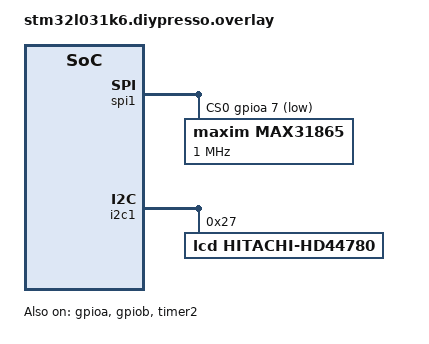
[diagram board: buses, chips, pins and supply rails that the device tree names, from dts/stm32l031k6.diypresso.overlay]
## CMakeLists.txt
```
# SPDX-License-Identifier: Apache-2.0

cmake_minimum_required(VERSION 3.20.0)

find_package(Zephyr REQUIRED HINTS $ENV{ZEPHYR_BASE})
project(diypresso_stm32 VERSION 1.0.0)

target_sources(app PRIVATE
    src/main.c
    src/encoder.c
    src/display.c
    src/temperature.c
    src/hx711.c
    src/heater.c
    src/pump.c
    src/reservoir.c
    src/boiler.c
    src/menu.c
    src/settings.c
    src/pid.c
    src/brew.c
    src/wifi.c
    src/mqtt.c
)

target_include_directories(app PRIVATE include)
```

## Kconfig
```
# SPDX-License-Identifier: Apache-2.0

config DIYPRESSO_VERSION
    string "diyPresso version string"
    default "STM32L031K6-1.0.0"

config DIYPRESSO_TEMPERATURE_WINDOW
    int "Temperature window for in-range detection (in tenths of degrees)"
    default 100
    help
      Temperature window in tenths of degrees Celsius for determining when the boiler
      is in the desired temperature range. Value will be divided by 10 (e.g., 100 = 10.0°C).

config DIYPRESSO_TEMPERATURE_LIMIT_HIGH
    int "High temperature limit (in tenths of degrees)"
    default 1080
    help
      Maximum temperature limit in tenths of degrees Celsius for safety cutoff.
      Value will be divided by 10 (e.g., 1080 = 108.0°C).

config DIYPRESSO_TEMPERATURE_LIMIT_LOW
    int "Low temperature limit (in tenths of degrees)"
    default 10
    help
      Minimum temperature limit in tenths of degrees Celsius for safety cutoff.
      Value will be divided by 10 (e.g., 10 = 1.0°C).

config DIYPRESSO_TIMEOUT_HEATING
    int "Maximum heating timeout in seconds"
    default 600
    help
      Maximum time in seconds the heater can remain on during heating phase.

config DIYPRESSO_RESERVOIR_CAPACITY
    int "Reservoir capacity in grams"
    default 1500
    help
      Total capacity of the water reservoir in grams.

config DIYPRESSO_RESERVOIR_EMPTY_LEVEL
    int "Empty level threshold percentage (in hundredths)"
    default 334
    help
      Percentage threshold in hundredths below which the reservoir is considered empty.
      Value will be divided by 100 (e.g., 334 = 3.34%).

config DIYPRESSO_SPI_MAX31865_NODE
    string "Device tree node for MAX31865 temperature sensor"
    default "spi1_cs0"
    help
      Device tree node identifier for the MAX31865 temperature sensor.

config DIYPRESSO_I2C_LCD_NODE
    string "Device tree node for LCD display"
    default "i2c1"
    help
      Device tree node identifier for the LCD display.
```

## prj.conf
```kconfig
# General configuration
CONFIG_MAIN_STACK_SIZE=2048

# Enable GPIO
CONFIG_GPIO=y
CONFIG_GPIO_STM32=y

# Enable SPI
CONFIG_SPI=y
CONFIG_SPI_STM32=y

# Enable I2C
CONFIG_I2C=y
CONFIG_I2C_STM32=y

# Enable ADC if needed
CONFIG_ADC=n

# Enable PWM for heater control
CONFIG_PWM=y
CONFIG_PWM_STM32=y

# Enable RTC for time keeping
CONFIG_RTC=n

# Enable Flash storage for settings
CONFIG_FLASH=y
CONFIG_FLASH_PAGE_LAYOUT=y
CONFIG_SETTINGS=y
CONFIG_SETTINGS_NVS=y

# Enable WiFi (will need external module)
CONFIG_WIFI=n
CONFIG_NET_L2_WIFI=y

# Enable MQTT if WiFi is enabled
CONFIG_MQTT=y
CONFIG_MQTT_HELPER=y

# Enable serial console for debugging
CONFIG_UART_CONSOLE=y
CONFIG_UART_INTERRUPT_DRIVEN=y

# Enable threading
CONFIG_MULTITHREADING=y
CONFIG_WORKQUEUE=y
CONFIG_SYSTEM_WORKQUEUE_STACK_SIZE=2048
CONFIG_MAIN_STACK_SIZE=2048

# Memory optimizations for STM32L031K6
CONFIG_HEAP_MEM_POOL_SIZE=2048
CONFIG_BT_CTLR_TX_PWR_PLUS_8=y

# Disable unused features to save space
CONFIG_LOG=n
CONFIG_ASSERT=n
CONFIG_DEBUG_THREAD_INFO=n
CONFIG_TEST_ARM_CORTEX_M=n

# Enable minimal printf support
CONFIG_CBPRINTF_NANO=n
CONFIG_CBPRINTF_FP_SUPPORT=n
CONFIG_NEWLIB_LIBC=y

# Enable specific STM32L0 series features
CONFIG_SOC_FAMILY_STM32L0XX=y
CONFIG_SOC_SERIES_STM32L0X1=y
CONFIG_BOARD_NUCLEO_L031K6=y

# Power management
CONFIG_PM=y
CONFIG_DEVICE_POWER_MANAGEMENT=y

# USB CDC ACM for console (optional)
CONFIG_USB_DEVICE_STACK=y
CONFIG_USB_CDC_ACM=y
CONFIG_UART_INTERRUPT_DRIVEN=y
```

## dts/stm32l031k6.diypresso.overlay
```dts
/*
 * Device Tree Overlay for diyPresso on STM32L031K6
 */

/ {
	aliases {
		enc-btn-gpio-port = &gpioa;
		brew-sw-gpio-port = &gpioa;
		ssr-heater-gpio-port = &gpioa;
		ssr-pump-gpio-port = &gpioa;
		enc-a-gpio-port = &gpiob;
		enc-b-gpio-port = &gpiob;
		hx711-clk-gpio-port = &gpioa;
		hx711-dat-gpio-port = &gpioa;
		therm-rdy-gpio-port = &gpioa;
		therm-cs-gpio-port = &gpioa;
	};
	
	gpioa: gpio@48000000 {
		compatible = "st,stm32-gpio";
		reg = <0x48000000 0x400>;
		interrupts = <5 6 7 8>;
		clocks = <&rcc STM32_CLOCK_LSE 0>;
		st,gpioafs = <1 2 3 4 5 6 7 8 9 10 11 12 13 14 15>;
		status = "okay";
		gpio-lines = <16>; /* 16 GPIO lines available */
	};

	gpiob: gpio@48000400 {
		compatible = "st,stm32-gpio";
		reg = <0x48000400 0x400>;
		interrupts = <9 10 11 12>;
		clocks = <&rcc STM32_CLOCK_LSE 0>;
		st,gpioafs = <1 2 3 4 5 6 7 8 9 10 11 12 13 14 15>;
		status = "okay";
		gpio-lines = <16>; /* 16 GPIO lines available */
	};

	spi1: spi@40013000 {
		compatible = "st,stm32-spi";
		reg = <0x40013000 0x400>;
		interrupts = <35>;
		clocks = <&rcc STM32_CLOCK_PCLK1 0>;
		dmas = <&dma1 0 2 0x400 0x0>, <&dma1 1 2 0x400 0x0>;
		dma-names = "rx", "tx";
		cs-gpios = <&gpioa 7 GPIO_ACTIVE_LOW>;  /* PA7 for MAX31865 CS */
		status = "okay";

		max31865@0 {
			compatible = "maxim,max31865";
			reg = <0>;
			spi-max-frequency = <1000000>;
			r-ref = <4300>;  /* Reference resistor value for PT1000 */
			r-nominal = <1000>;  /* Nominal resistance at 0°C for PT1000 */
		};
	};

	i2c1: i2c@40005400 {
		compatible = "st,stm32-i2c-v2";
		reg = <0x40005400 0x400>;
		interrupts = <34>;
		clocks = <&rcc STM32_CLOCK_PCLK1 0>;
		status = "okay";

		lcd@27 {
			compatible = "lcd,hitachi-hd44780";
			reg = <0x27>;
			lines = <4>;
			columns = <20>;
			delay-setup-us = <40000>;
			delay-init-us = <100>;
			delay-write-us = <40>;
			delay-read-us = <10>;
		};
	};

	/* Timer for encoder debouncing */
	timer2: timer@40000000 {
		compatible = "st,stm32-timer";
		reg = <0x40000000 0x400>;
		interrupts = <28>;
		clocks = <&rcc STM32_CLOCK_PCLK1 0>;
		st,adc-trig-sel = <0>;
		status = "okay";
	};
};
```

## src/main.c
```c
/*
 * diyPresso main controller for STM32L031K6
 * Ported to Zephyr RTOS
 */

#include <zephyr/kernel.h>
#include <zephyr/device.h>
#include <zephyr/drivers/gpio.h>
#include <zephyr/sys/printk.h>
#include <zephyr/sys/util.h>
#include <zephyr/logging/log.h>

#include "encoder.h"
#include "display.h"
#include "temperature.h"
#include "hx711.h"
#include "heater.h"
#include "pump.h"
#include "reservoir.h"
#include "boiler.h"
#include "menu.h"
#include "settings.h"
#include "brew.h"
#include "wifi.h"
#include "mqtt.h"

/* Stack definition for main thread */
#define MAIN_STACK_SIZE 2048
#define MAIN_PRIORITY 5

/* Global state structure */
struct diypresso_state {
    struct k_work_q work_q;
    struct k_thread work_q_thread;
    k_tid_t work_q_tid;
    struct k_sem sync_sem;
};

static struct diypresso_state app_state;

/* Work definitions for various subsystems */
static struct k_work encoder_work;
static struct k_work boiler_control_work;
static struct k_work brew_process_work;
static struct k_work display_update_work;
static struct k_work mqtt_send_work;

/* Thread stack for work queue */
K_THREAD_STACK_DEFINE(work_q_stack, 2048);

/* Forward declarations */
static void encoder_work_handler(struct k_work *work);
static void boiler_control_handler(struct k_work *work);
static void brew_process_handler(struct k_work *work);
static void display_update_handler(struct k_work *work);
static void mqtt_send_handler(struct k_work *work);

/**
 * @brief Initialize all subsystems
 */
static int initialize_subsystems(void)
{
    int ret;

    printk("Initializing diyPresso system...\n");

    /* Initialize GPIO subsystem */
    ret = gpio_init();
    if (ret < 0) {
        printk("GPIO initialization failed: %d\n", ret);
        return ret;
    }

    /* Initialize encoder */
    ret = encoder_init();
    if (ret < 0) {
        printk("Encoder initialization failed: %d\n", ret);
        return ret;
    }
    k_work_init(&encoder_work, encoder_work_handler);

    /* Initialize display */
    ret = display_init();
    if (ret < 0) {
        printk("Display initialization failed: %d\n", ret);
        return ret;
    }
    k_work_init(&display_update_work, display_update_handler);

    /* Initialize temperature sensor */
    ret = temperature_sensor_init();
    if (ret < 0) {
        printk("Temperature sensor initialization failed: %d\n", ret);
        return ret;
    }

    /* Initialize HX711 weight sensor */
    ret = hx711_init();
    if (ret < 0) {
        printk("HX711 initialization failed: %d\n", ret);
        return ret;
    }

    /* Initialize heater */
    ret = heater_init();
    if (ret < 0) {
        printk("Heater initialization failed: %d\n", ret);
        return ret;
    }

    /* Initialize pump */
    ret = pump_init();
    if (ret < 0) {
        printk("Pump initialization failed: %d\n", ret);
        return ret;
    }

    /* Initialize reservoir monitoring */
    ret = reservoir_init();
    if (ret < 0) {
        printk("Reservoir initialization failed: %d\n", ret);
        return ret;
    }

    /* Initialize boiler controller */
    ret = boiler_controller_init();
    if (ret < 0) {
        printk("Boiler controller initialization failed: %d\n", ret);
        return ret;
    }
    k_work_init(&boiler_control_work, boiler_control_handler);

    /* Initialize brew process */
    ret = brew_process_init();
    if (ret < 0) {
        printk("Brew process initialization failed: %d\n", ret);
        return ret;
    }
    k_work_init(&brew_process_handler, brew_process_handler);

    /* Initialize settings */
    ret = settings_load();
    if (ret < 0) {
        printk("Settings load failed: %d, loading defaults\n", ret);
        settings_defaults();
        settings_save();
    }

    /* Initialize WiFi */
    wifi_init();

    /* Initialize MQTT */
    mqtt_init();

    /* Initialize menu system */
    menu_init();

    printk("All subsystems initialized successfully\n");
    return 0;
}

/**
 * @brief Main application loop
 */
static void main_loop(void)
{
    static uint32_t loop_counter = 0;
    static uint32_t last_wifi_check = 0;
    static uint32_t last_mqtt_send = 0;

    while (1) {
        /* Process encoder input */
        if (encoder_has_events()) {
            k_work_submit_to_queue(&app_state.work_q, &encoder_work);
        }

        /* Update boiler control periodically */
        if ((loop_counter % 10) == 0) {  /* Every 100ms */
            k_work_submit_to_queue(&app_state.work_q, &boiler_control_work);
        }

        /* Update brew process periodically */
        if ((loop_counter % 5) == 0) {   /* Every 50ms */
            k_work_submit_to_queue(&app_state.work_q, &brew_process_work);
        }

        /* Update display periodically */
        if ((loop_counter % 20) == 0) {  /* Every 200ms */
            k_work_submit_to_queue(&app_state.work_q, &display_update_work);
        }

        /* Handle WiFi operations */
        if ((k_uptime_get_32() - last_wifi_check) > 1000) {  /* Every second */
            wifi_process();
            last_wifi_check = k_uptime_get_32();
        }

        /* Send MQTT updates periodically */
        if ((k_uptime_get_32() - last_mqtt_send) > 5000) {   /* Every 5 seconds */
            k_work_submit_to_queue(&app_state.work_q, &mqtt_send_work);
            last_mqtt_send = k_uptime_get_32();
        }

        loop_counter++;
        k_msleep(10);  /* 10ms tick */
    }
}

/* Work handlers */
static void encoder_work_handler(struct k_work *work)
{
    encoder_process_events();
}

static void boiler_control_handler(struct k_work *work)
{
    boiler_control();
}

static void brew_process_handler(struct k_work *work)
{
    brew_process_run();
}

static void display_update_handler(struct k_work *work)
{
    menu_update_display();
}

static void mqtt_send_handler(struct k_work *work)
{
    mqtt_send_state();
}

/**
 * @brief Main function
 */
void main(void)
{
    int ret;

    printk("Starting diyPresso on STM32L031K6\n");
    printk("Version: %s\n", CONFIG_DIYPRESSO_VERSION);

    /* Initialize the synchronization semaphore */
    k_sem_init(&app_state.sync_sem, 0, 1);

    /* Initialize work queue */
    k_work_queue_start(&app_state.work_q, work_q_stack,
                      K_THREAD_STACK_SIZEOF(work_q_stack),
                      K_PRIO_COOP(7), NULL);
    
    /* Initialize all subsystems */
    ret = initialize_subsystems();
    if (ret < 0) {
        printk("System initialization failed: %d\n", ret);
        return;
    }

    /* Start the work queue thread */
    k_thread_start(app_state.work_q_tid);

    /* Run the main application loop */
    main_loop();
}
```

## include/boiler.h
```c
/*
 * Boiler control for diyPresso
 * Ported to Zephyr RTOS
 */

#ifndef BOILER_H_
#define BOILER_H_

#include <zephyr/kernel.h>
#include "pid.h"

/* Temperature limits (in Celsius) */
#define BOILER_TEMP_WINDOW      (CONFIG_DIYPRESSO_TEMPERATURE_WINDOW / 10.0)    /* In temperature range */
#define BOILER_TEMP_LIMIT_HIGH  (CONFIG_DIYPRESSO_TEMPERATURE_LIMIT_HIGH / 10.0) /* High temperature limit */
#define BOILER_TEMP_LIMIT_LOW   (CONFIG_DIYPRESSO_TEMPERATURE_LIMIT_LOW / 10.0)  /* Low temperature limit */
#define BOILER_TEMP_MIN_BREW    10.0    /* Minimum brew temperature */

/* Timeouts (in milliseconds) */
#define BOILER_TIMEOUT_HEATING      (CONFIG_DIYPRESSO_TIMEOUT_HEATING * 1000)    /* Max heating time from config */
#define BOILER_TIMEOUT_BREW         (3 * 60 * 1000) /* 3 minutes max brew */
#define BOILER_TIMEOUT_READY        (2 * 60 * 60 * 1000) /* 2 hours max ready state */
#define BOILER_TIMEOUT_CONTROL_MSEC (10 * 1000)     /* 10 seconds max between controls */

/* PID Windup limits */
#define BOILER_WINDUP_LIMIT_MIN -7.0  /* Windup limits in % */
#define BOILER_WINDUP_LIMIT_MAX 7.0

/* Boiler error types */
typedef enum {
    BOILER_ERROR_NONE,
    BOILER_ERROR_RTD,
    BOILER_ERROR_TIMEOUT_BREW,
    BOILER_ERROR_TIMEOUT_HEATING,
    BOILER_ERROR_READY_TIMEOUT,
    BOILER_ERROR_SSR_TIMEOUT,
    BOILER_ERROR_OVER_TEMP,
    BOILER_ERROR_UNDER_TEMP,
    BOILER_ERROR_CONTROL_TIMEOUT,
    BOILER_ERROR_UNKNOWN,
} boiler_error_t;

/* Boiler state machine states */
typedef enum {
    BOILER_STATE_OFF,
    BOILER_STATE_HEATING,
    BOILER_STATE_READY,
    BOILER_STATE_BREW,
    BOILER_STATE_ERROR,
} boiler_state_t;

/* Boiler state structure */
struct boiler_state {
    struct dp_pid pid;
    double act_temp;              /* Actual temperature */
    double set_temp;              /* Target temperature */
    double act_power;             /* Actual power output */
    double ff_heat;              /* Feedforward during heating */
    double ff_ready;             /* Feedforward during ready */
    double ff_brew;              /* Feedforward during brew */
    bool is_on;                  /* Whether boiler is active */
    bool is_brewing;             /* Whether in brewing mode */
    unsigned long last_control_time; /* Last control update time */
    boiler_error_t error;        /* Current error state */
    int rtd_error;               /* RTD sensor errors */
    boiler_state_t current_state; /* Current state machine state */
    unsigned long state_entry_time; /* Time when entered current state */
};

/* Public API */
int boiler_controller_init(void);
void boiler_control(void);
void boiler_on(void);
void boiler_off(void);
void boiler_start_brew(void);
void boiler_stop_brew(void);
bool boiler_is_on(void);
bool boiler_is_ready(void);
bool boiler_is_error(void);
bool boiler_is_brewing(void);
void boiler_clear_error(void);
double boiler_get_set_temp(void);
double boiler_set_temp(double temp);
double boiler_get_act_temp(void);
double boiler_get_act_power(void);
double boiler_get_ff_heat(void);
double boiler_set_ff_heat(double ff);
double boiler_get_ff_ready(void);
double boiler_set_ff_ready(double ff);
double boiler_get_ff_brew(void);
double boiler_set_ff_brew(double ff);
void boiler_set_pid(double p, double i, double d);
const char* boiler_get_error_text(void);
const char* boiler_get_state_name(void);
boiler_error_t boiler_get_error(void);

#endif /* BOILER_H_ */
```

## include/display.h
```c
/*
 * Display interface for diyPresso
 * Ported to Zephyr RTOS
 */

#ifndef DISPLAY_H_
#define DISPLAY_H_

#include <zephyr/kernel.h>

/* Display error types */
typedef enum {
    DISPLAY_ERROR_NONE,
    DISPLAY_ERROR_INIT,
    DISPLAY_ERROR_COMM,
    DISPLAY_ERROR_BUSY
} display_error_t;

/* Display dimensions */
#define DISPLAY_COLS 20
#define DISPLAY_ROWS 4

/* Public API */
int display_init(void);
int display_print(const char *str, int row, int col);
int display_clear(void);
int display_clear_row(int row);
int display_set_cursor(int row, int col);
int display_backlight_on(void);
int display_backlight_off(void);
bool display_is_error(void);
display_error_t display_get_error(void);
const char *display_get_error_text(void);
void display_clear_error(void);

#endif /* DISPLAY_H_ */
```

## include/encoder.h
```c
/*
 * Rotary encoder driver for diyPresso
 * Ported to Zephyr RTOS
 */

#ifndef ENCODER_H_
#define ENCODER_H_

#include <zephyr/kernel.h>

/* Encoder configuration */
#define ENCODER_TIMER_PERIOD_US 400  /* 400usec timer = 2.5kHz */
#define ENCODER_DEGLITCH_COUNT 2     /* Deglitch count value */

/* Button configuration */
#define BUTTON_DEGLITCH_BITS 0xFFFFFFF  /* Bits that need to be high before switching back */

/* Encoder state structure */
struct encoder_state {
    volatile int32_t position;
    volatile int32_t button_count;
    volatile bool button_state;
    volatile int32_t button_time;
    volatile int32_t timer_count;
    struct k_timer timer;
    struct gpio_callback gpio_cb_a;
    struct gpio_callback gpio_cb_b;
    struct gpio_callback gpio_cb_btn;
    const struct device *port_a;
    const struct device *port_b;
    const struct device *port_btn;
    uint32_t pin_a;
    uint32_t pin_b;
    uint32_t pin_btn;
    volatile uint32_t prev_enc_state;
    volatile uint32_t afilt;
    volatile uint32_t bfilt;
    volatile uint32_t enc_switch;
    volatile uint32_t enc_prev_button;
};

/* Public API */
int encoder_init(void);
bool encoder_has_events(void);
void encoder_process_events(void);
int32_t encoder_position(void);
int32_t encoder_button_count(void);
bool encoder_button_state(void);
int32_t encoder_button_time_ms(void);
void encoder_reset(void);
void encoder_set_position(int32_t value);

#endif /* ENCODER_H_ */
```

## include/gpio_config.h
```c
/*
 * GPIO configuration for diyPresso STM32L031K6
 */

#ifndef GPIO_CONFIG_H_
#define GPIO_CONFIG_H_

#include <zephyr/device.h>

/* GPIO Pin Definitions for STM32L031K6 */
#define ENC_BTN_GPIO_PORT     DT_ALIAS(enc_btn_gpio_port)
#define ENC_BTN_GPIO_PIN      DT_GPIO_PIN(DT_ALIAS(enc_btn_gpio_port), gpios)

#define BREW_SW_GPIO_PORT     DT_ALIAS(brew_sw_gpio_port)
#define BREW_SW_GPIO_PIN      DT_GPIO_PIN(DT_ALIAS(brew_sw_gpio_port), gpios)

#define SSR_HEATER_GPIO_PORT  DT_ALIAS(ssr_heater_gpio_port)
#define SSR_HEATER_GPIO_PIN   DT_GPIO_PIN(DT_ALIAS(ssr_heater_gpio_port), gpios)

#define SSR_PUMP_GPIO_PORT    DT_ALIAS(ssr_pump_gpio_port)
#define SSR_PUMP_GPIO_PIN     DT_GPIO_PIN(DT_ALIAS(ssr_pump_gpio_port), gpios)

#define ENC_A_GPIO_PORT       DT_ALIAS(enc_a_gpio_port)
#define ENC_A_GPIO_PIN        DT_GPIO_PIN(DT_ALIAS(enc_a_gpio_port), gpios)

#define ENC_B_GPIO_PORT       DT_ALIAS(enc_b_gpio_port)
#define ENC_B_GPIO_PIN        DT_GPIO_PIN(DT_ALIAS(enc_b_gpio_port), gpios)

#define HX711_CLK_GPIO_PORT   DT_ALIAS(hx711_clk_gpio_port)
#define HX711_CLK_GPIO_PIN    DT_GPIO_PIN(DT_ALIAS(hx711_clk_gpio_port), gpios)

#define HX711_DAT_GPIO_PORT   DT_ALIAS(hx711_dat_gpio_port)
#define HX711_DAT_GPIO_PIN    DT_GPIO_PIN(DT_ALIAS(hx711_dat_gpio_port), gpios)

#define THERM_RDY_GPIO_PORT   DT_ALIAS(therm_rdy_gpio_port)
#define THERM_RDY_GPIO_PIN    DT_GPIO_PIN(DT_ALIAS(therm_rdy_gpio_port), gpios)

#define THERM_CS_GPIO_PORT    DT_ALIAS(therm_cs_gpio_port)
#define THERM_CS_GPIO_PIN     DT_GPIO_PIN(DT_ALIAS(therm_cs_gpio_port), gpios)

/* Helper macros */
#define GPIO_GET(dev, pin) gpio_pin_get(dev, pin)
#define GPIO_SET(dev, pin, value) gpio_pin_set(dev, pin, value)

/* Function prototypes */
int gpio_init(void);

#endif /* GPIO_CONFIG_H_ */
```

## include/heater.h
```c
/*
 * Heater control for diyPresso
 * Ported to Zephyr RTOS
 */

#ifndef HEATER_H_
#define HEATER_H_

#include <zephyr/kernel.h>

/* Heater configuration */
#define HEATER_PWM_PERIOD_DEFAULT_US 1000000  /* 1 second default PWM period */
#define HEATER_PWM_PERIOD_MIN_US 100000       /* 0.1 second minimum */
#define HEATER_PWM_PERIOD_MAX_US 10000000     /* 10 second maximum */

/* Heater state structure */
struct heater_state {
    double power;           /* Power level [0..100%] */
    double average_power;   /* Average power over time */
    uint32_t pwm_period_us; /* PWM period in microseconds */
    uint32_t time_on;       /* Time in current state (microseconds) */
    bool is_on;             /* Current state of heater */
    struct k_timer control_timer;
    const struct device *pwm_dev;
    uint32_t pwm_channel;
};

/* Public API */
int heater_init(void);
void heater_control(void);
void heater_pwm_period(double seconds);
void heater_on(void);
void heater_off(void);
void heater_set_power(double power_percent);
double heater_get_power(void);
double heater_get_average_power(void);
bool heater_is_on(void);
double heater_get_pwm_period(void);

#endif /* HEATER_H_ */
```

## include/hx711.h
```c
/*
 * HX711 Load Cell Amplifier for diyPresso
 * Ported to Zephyr RTOS
 */

#ifndef HX711_H_
#define HX711_H_

#include <zephyr/kernel.h>

/* HX711 error types */
typedef enum {
    HX711_ERROR_NONE,
    HX711_ERROR_INIT,
    HX711_ERROR_READ,
    HX711_ERROR_TIMEOUT
} hx711_error_t;

/* HX711 gain options */
#define HX711_GAIN_CHANNEL_A_128  0  /* Channel A, gain factor 128 */
#define HX711_GAIN_CHANNEL_A_64   1  /* Channel A, gain factor 64 */
#define HX711_GAIN_CHANNEL_B_32   2  /* Channel B, gain factor 32 */

/* Public API */
int hx711_init(void);
int hx711_read(long *result);
int hx711_set_gain(uint8_t gain);
int hx711_power_down(void);
int hx711_power_up(void);
bool hx711_is_ready(void);
bool hx711_is_error(void);
hx711_error_t hx711_get_error(void);
const char *hx711_get_error_text(void);
void hx711_clear_error(void);

#endif /* HX711_H_ */
```

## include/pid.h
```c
/*
 * PID controller for diyPresso
 * Ported to Zephyr RTOS
 */

#ifndef PID_H_
#define PID_H_

#include <zephyr/kernel.h>

/* PID state structure */
struct dp_pid {
    double kp;           /* Proportional gain */
    double ki;           /* Integral gain */
    double kd;           /* Derivative gain */
    double integral;     /* Integral term */
    double last_error;   /* Previous error value */
    double output_min;   /* Minimum output value */
    double output_max;   /* Maximum output value */
    double windup_min;   /* Minimum windup limit */
    double windup_max;   /* Maximum windup limit */
};

/* Public API */
int pid_init(struct dp_pid *pid);
void pid_set_coefficients(struct dp_pid *pid, double kp, double ki, double kd);
void pid_set_limits(struct dp_pid *pid, double min_out, double max_out);
void pid_set_windup_limits(struct dp_pid *pid, double min_windup, double max_windup);
double pid_compute(struct dp_pid *pid, double setpoint, double measured_value, uint32_t dt_ms);

#endif /* PID_H_ */
```

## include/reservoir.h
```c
/*
 * Reservoir monitoring for diyPresso
 * Ported to Zephyr RTOS
 */

#ifndef RESERVOIR_H_
#define RESERVOIR_H_

#include <zephyr/kernel.h>

/* Reservoir constants */
#define RESERVOIR_ALMOST_EMPTY_WARNING_LEVEL 12.0  /* Empty level threshold [%], triggers a warning to refill upon brew start */

/* Reservoir error types */
typedef enum {
    RESERVOIR_ERROR_NONE,
    RESERVOIR_ERROR_SENSOR,
    RESERVOIR_ERROR_NO_READINGS,
    RESERVOIR_ERROR_OUT_OF_RANGE,
    RESERVOIR_ERROR_NEGATIVE
} reservoir_error_t;

/* Reservoir state structure */
struct reservoir_state {
    double level;                 /* Level [0..100%] */
    double tare;                  /* Tare weight (when empty) [gr] */
    double weight;                /* Current gross weight [gr] */
    double offset;                /* Zero level offset [adc_units] */
    double scale;                 /* Scale [adc_units/gram] */
    double trim;                  /* Scale trim to match calibrated weight [%] */
    int readings;                 /* Number of readings without measurement */
    reservoir_error_t error;      /* Current error state */
};

/* Public API */
int reservoir_init(void);
double reservoir_level(void);
double reservoir_weight(void);
double reservoir_get_tare(void);
void reservoir_set_tare(double tare);
void reservoir_set_trim(double trim);
void reservoir_tare(void);
bool reservoir_is_empty(void);
bool reservoir_is_almost_empty(void);
bool reservoir_is_error(void);
reservoir_error_t reservoir_error(void);
const char *reservoir_get_error_text(void);
void reservoir_clear_error(void);

#endif /* RESERVOIR_H_ */
```

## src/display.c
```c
/*
 * Display interface for diyPresso
 * Ported to Zephyr RTOS
 */

#include <zephyr/kernel.h>
#include <zephyr/device.h>
#include <zephyr/drivers/i2c.h>
#include <zephyr/logging/log.h>
#include <stdio.h>
#include <string.h>

#include "display.h"
#include "gpio_config.h"

LOG_MODULE_REGISTER(display, CONFIG_DIYPRESSO_LOG_LEVEL);

/* Configuration from device tree or Kconfig */
#define DISPLAY_I2C_DEV DT_LABEL(DT_BUS(DT_PATH(zephyr_user), i2c))
#define DISPLAY_I2C_ADDR DT_REG_ADDR(DT_PATH(zephyr_user, lcd))

/* PCF8574 pin definitions for LCD */
#define PCF_RS 0
#define PCF_RW 1
#define PCF_EN 2
#define PCF_BL 3
#define PCF_D4 4
#define PCF_D5 5
#define PCF_D6 6
#define PCF_D7 7

/* LCD commands */
#define LCD_CLEARDISPLAY 0x01
#define LCD_RETURNHOME 0x02
#define LCD_ENTRYMODESET 0x04
#define LCD_DISPLAYCONTROL 0x08
#define LCD_CURSORSHIFT 0x10
#define LCD_FUNCTIONSET 0x20
#define LCD_SETCGRAMADDR 0x40
#define LCD_SETDDRAMADDR 0x80

#define LCD_ENTRYRIGHT 0x00
#define LCD_ENTRYLEFT 0x02
#define LCD_ENTRYSHIFTINCREMENT 0x01
#define LCD_ENTRYSHIFTDECREMENT 0x00
#define LCD_DISPLAYON 0x04
#define LCD_DISPLAYOFF 0x00
#define LCD_CURSORON 0x02
#define LCD_CURSOROFF 0x00
#define LCD_BLINKON 0x01
#define LCD_BLINKOFF 0x00
#define LCD_DISPLAYMOVE 0x08
#define LCD_CURSORMOVE 0x00
#define LCD_MOVERIGHT 0x04
#define LCD_MOVELEFT 0x00
#define LCD_4BITMODE 0x00
#define LCD_2LINE 0x08
#define LCD_1LINE 0x00
#define LCD_5X8DOTS 0x00

/* Static variables */
static const struct device *i2c_dev;
static display_error_t disp_error = DISPLAY_ERROR_NONE;
static bool backlight_state = true;

/* Forward declarations */
static int lcd_write_nibble(uint8_t nibble, bool rs);
static int lcd_write_byte(uint8_t data, bool rs);
static int lcd_command(uint8_t cmd);
static int lcd_write_char(char data);
static int lcd_init_sequence(void);

/**
 * @brief Initialize display
 */
int display_init(void)
{
    LOG_INF("Initializing display");

    /* Get I2C device */
    i2c_dev = DEVICE_DT_GET(DT_PATH(zephyr_user, lcd));
    if (!device_is_ready(i2c_dev)) {
        LOG_ERR("I2C device not ready");
        disp_error = DISPLAY_ERROR_INIT;
        return -ENODEV;
    }

    /* Initialize LCD */
    int ret = lcd_init_sequence();
    if (ret != 0) {
        LOG_ERR("LCD init sequence failed: %d", ret);
        disp_error = DISPLAY_ERROR_INIT;
        return ret;
    }

    LOG_INF("Display initialized successfully");
    disp_error = DISPLAY_ERROR_NONE;
    return 0;
}

/**
 * @brief Initialize LCD with proper sequence
 */
static int lcd_init_sequence(void)
{
    k_msleep(50);  /* Wait for more than 40ms after VCC rises to 4.5V */

    /* Send initial 0x03 sequence */
    lcd_write_nibble(0x03, false);
    k_msleep(5);  /* Wait for more than 4.1ms */
    
    lcd_write_nibble(0x03, false);
    k_usleep(150);  /* Wait for more than 100us */
    
    lcd_write_nibble(0x03, false);
    k_msleep(1);  /* Wait for more than 1ms */
    
    /* Set to 4-bit mode */
    lcd_write_nibble(0x02, false);
    k_msleep(1);

    /* Begin commands */
    lcd_command(LCD_FUNCTIONSET | LCD_2LINE | LCD_5X8DOTS | LCD_4BITMODE);
    k_msleep(1);
    
    lcd_command(LCD_DISPLAYCONTROL | LCD_DISPLAYON | LCD_CURSOROFF | LCD_BLINKOFF);
    k_msleep(1);
    
    lcd_command(LCD_CLEARDISPLAY);
    k_msleep(2);
    
    lcd_command(LCD_ENTRYMODESET | LCD_ENTRYLEFT | LCD_ENTRYSHIFTDECREMENT);
    k_msleep(1);

    return 0;
}

/**
 * @brief Write a nibble to the LCD via I2C
 */
static int lcd_write_nibble(uint8_t nibble, bool rs)
{
    uint8_t data = 0;

    /* Set RS bit */
    if (rs) {
        data |= (1 << PCF_RS);
    }

    /* Set backlight */
    if (backlight_state) {
        data |= (1 << PCF_BL);
    }

    /* Set data bits (D4-D7) */
    if (nibble & 0x01) data |= (1 << PCF_D4);
    if (nibble & 0x02) data |= (1 << PCF_D5);
    if (nibble & 0x04) data |= (1 << PCF_D6);
    if (nibble & 0x08) data |= (1 << PCF_D7);

    /* Write with EN pulse */
    int ret = i2c_reg_write_byte(i2c_dev, DISPLAY_I2C_ADDR, 0, data);
    if (ret != 0) {
        return ret;
    }

    /* Pulse EN */
    data |= (1 << PCF_EN);  /* Enable HIGH */
    ret = i2c_reg_write_byte(i2c_dev, DISPLAY_I2C_ADDR, 0, data);
    if (ret != 0) {
        return ret;
    }

    data &= ~(1 << PCF_EN);  /* Enable LOW */
    ret = i2c_reg_write_byte(i2c_dev, DISPLAY_I2C_ADDR, 0, data);
    if (ret != 0) {
        return ret;
    }

    return 0;
}

/**
 * @brief Write a byte to the LCD
 */
static int lcd_write_byte(uint8_t data, bool rs)
{
    int ret;

    /* Write high nibble */
    ret = lcd_write_nibble((data >> 4) & 0x0F, rs);
    if (ret != 0) {
        return ret;
    }

    /* Write low nibble */
    ret = lcd_write_nibble(data & 0x0F, rs);
    if (ret != 0) {
        return ret;
    }

    return 0;
}

/**
 * @brief Send command to LCD
 */
static int lcd_command(uint8_t cmd)
{
    return lcd_write_byte(cmd, false);
}

/**
 * @brief Write character to LCD
 */
static int lcd_write_char(char data)
{
    return lcd_write_byte((uint8_t)data, true);
}

/**
 * @brief Print string at specific position
 */
int display_print(const char *str, int row, int col)
{
    if (!str || row < 0 || row >= DISPLAY_ROWS || col < 0 || col >= DISPLAY_COLS) {
        return -EINVAL;
    }

    /* Set cursor position */
    uint8_t pos = col;
    switch (row) {
        case 0: pos = 0x00; break;
        case 1: pos = 0x40; break;
        case 2: pos = 0x14; break;  /* 0x14 = 20 in decimal */
        case 3: pos = 0x54; break;  /* 0x54 = 20+64+4 = 84 in decimal */
        default: return -EINVAL;
    }

    int ret = lcd_command(LCD_SETDDRAMADDR | (pos + col));
    if (ret != 0) {
        disp_error = DISPLAY_ERROR_COMM;
        return ret;
    }

    /* Print string */
    for (int i = 0; str[i] != '\0' && i < (DISPLAY_COLS - col); i++) {
        ret = lcd_write_char(str[i]);
        if (ret != 0) {
            disp_error = DISPLAY_ERROR_COMM;
            return ret;
        }
    }

    disp_error = DISPLAY_ERROR_NONE;
    return 0;
}

/**
 * @brief Clear entire display
 */
int display_clear(void)
{
    int ret = lcd_command(LCD_CLEARDISPLAY);
    if (ret != 0) {
        disp_error = DISPLAY_ERROR_COMM;
        return ret;
    }
    k_msleep(2);  /* Clear command takes 1.52ms */
    disp_error = DISPLAY_ERROR_NONE;
    return 0;
}

/**
 * @brief Clear a specific row
 */
int display_clear_row(int row)
{
    if (row < 0 || row >= DISPLAY_ROWS) {
        return -EINVAL;
    }

    char spaces[DISPLAY_COLS + 1];
    memset(spaces, ' ', DISPLAY_COLS);
    spaces[DISPLAY_COLS] = '\0';

    return display_print(spaces, row, 0);
}

/**
 * @brief Set cursor position
 */
int display_set_cursor(int row, int col)
{
    if (row < 0 || row >= DISPLAY_ROWS || col < 0 || col >= DISPLAY_COLS) {
        return -EINVAL;
    }

    uint8_t pos = col;
    switch (row) {
        case 0: pos = 0x00; break;
        case 1: pos = 0x40; break;
        case 2: pos = 0x14; break;
        case 3: pos = 0x54; break;
        default: return -EINVAL;
    }

    int ret = lcd_command(LCD_SETDDRAMADDR | (pos + col));
    if (ret != 0) {
        disp_error = DISPLAY_ERROR_COMM;
        return ret;
    }

    disp_error = DISPLAY_ERROR_NONE;
    return 0;
}

/**
 * @brief Turn backlight on
 */
int display_backlight_on(void)
{
    backlight_state = true;
    disp_error = DISPLAY_ERROR_NONE;
    return 0;
}

/**
 * @brief Turn backlight off
 */
int display_backlight_off(void)
{
    backlight_state = false;
    disp_error = DISPLAY_ERROR_NONE;
    return 0;
}

/**
 * @brief Check if there's an error
 */
bool display_is_error(void)
{
    return disp_error != DISPLAY_ERROR_NONE;
}

/**
 * @brief Get error type
 */
display_error_t display_get_error(void)
{
    return disp_error;
}

/**
 * @brief Get error text description
 */
const char *display_get_error_text(void)
{
    switch (disp_error) {
        case DISPLAY_ERROR_NONE:
            return "No Error";
        case DISPLAY_ERROR_INIT:
            return "Initialization Error";
        case DISPLAY_ERROR_COMM:
            return "Communication Error";
        case DISPLAY_ERROR_BUSY:
            return "Busy Error";
        default:
            return "Unknown Error";
    }
}

/**
 * @brief Clear error state
 */
void display_clear_error(void)
{
    disp_error = DISPLAY_ERROR_NONE;
}
```

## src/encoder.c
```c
/*
 * Rotary encoder driver for diyPresso
 * Ported to Zephyr RTOS
 */

#include <zephyr/kernel.h>
#include <zephyr/device.h>
#include <zephyr/drivers/gpio.h>
#include <zephyr/sys/printk.h>

#include "encoder.h"
#include "gpio_config.h"

static struct encoder_state enc_state;

/* Timer callback for encoder processing */
static void encoder_timer_callback(struct k_timer *timer)
{
    // Get current encoder state
    int enc_a = GPIO_GET(enc_state.port_a, enc_state.pin_a);
    int enc_b = GPIO_GET(enc_state.port_b, enc_state.pin_b);
    
    if (enc_a < 0 || enc_b < 0) {
        return; // Error reading pins
    }
    
    // Button debouncing and handling
    enc_state.enc_switch = (enc_state.enc_switch << 1) | (GPIO_GET(enc_state.port_btn, enc_state.pin_btn) ? 0 : 1);
    enc_state.button_state = (enc_state.enc_switch & BUTTON_DEGLITCH_BITS) == BUTTON_DEGLITCH_BITS ? 1 : 0;
    
    if (enc_state.button_state && !enc_state.enc_prev_button) { // falling edge
        enc_state.button_count++;
    }
    enc_state.enc_prev_button = enc_state.button_state;
    
    if (enc_state.button_state) {
        enc_state.button_time++;
    } else {
        enc_state.button_time = 0;
    }
    
    // Encoder debouncing and handling
    uint32_t val = 0;
    val |= enc_a ? 1 : 0;
    val |= enc_b ? 2 : 0;
    
    if (val & 1) {
        enc_state.afilt++;
    } else {
        enc_state.afilt--;
    }
    if (enc_state.afilt > ENCODER_DEGLITCH_COUNT) { 
        enc_state.afilt = ENCODER_DEGLITCH_COUNT; 
        enc_state.prev_enc_state |= 1; 
    }
    if (enc_state.afilt < -ENCODER_DEGLITCH_COUNT) { 
        enc_state.afilt = -ENCODER_DEGLITCH_COUNT; 
        enc_state.prev_enc_state &= 2; 
    }
    
    if (val & 2) {
        enc_state.bfilt++;
    } else {
        enc_state.bfilt--;
    }
    if (enc_state.bfilt > ENCODER_DEGLITCH_COUNT) { 
        enc_state.bfilt = ENCODER_DEGLITCH_COUNT; 
        enc_state.prev_enc_state |= 2; 
    }
    if (enc_state.bfilt < -ENCODER_DEGLITCH_COUNT) { 
        enc_state.bfilt = -ENCODER_DEGLITCH_COUNT; 
        enc_state.prev_enc_state &= 1; 
    }
    
    uint32_t cur = enc_state.prev_enc_state;
    if (((enc_state.prev_enc_state & 1) == 1) && ((cur & 1) == 0)) {
        enc_state.position += (cur & 2 ? -1 : 1);
    }
    enc_state.prev_enc_state = cur;
    
    enc_state.timer_count++;
}

int encoder_init(void)
{
    // Get device pointers from devicetree
    enc_state.port_a = DEVICE_DT_GET(DT_ALIAS(enc_a_gpio_port));
    enc_state.port_b = DEVICE_DT_GET(DT_ALIAS(enc_b_gpio_port));
    enc_state.port_btn = DEVICE_DT_GET(DT_ALIAS(enc_btn_gpio_port));
    
    if (!device_is_ready(enc_state.port_a) ||
        !device_is_ready(enc_state.port_b) ||
        !device_is_ready(enc_state.port_btn)) {
        return -ENODEV;
    }
    
    // Get pin numbers from devicetree
    enc_state.pin_a = DT_GPIO_PIN(DT_ALIAS(enc_a_gpio_port), gpios);
    enc_state.pin_b = DT_GPIO_PIN(DT_ALIAS(enc_b_gpio_port), gpios);
    enc_state.pin_btn = DT_GPIO_PIN(DT_ALIAS(enc_btn_gpio_port), gpios);
    
    // Configure GPIO pins
    int ret = gpio_pin_configure(enc_state.port_a, enc_state.pin_a, GPIO_INPUT | GPIO_PULL_UP);
    if (ret < 0) {
        return ret;
    }
    
    ret = gpio_pin_configure(enc_state.port_b, enc_state.pin_b, GPIO_INPUT | GPIO_PULL_UP);
    if (ret < 0) {
        return ret;
    }
    
    ret = gpio_pin_configure(enc_state.port_btn, enc_state.pin_btn, GPIO_INPUT | GPIO_PULL_UP);
    if (ret < 0) {
        return ret;
    }
    
    // Initialize encoder state
    enc_state.position = 0;
    enc_state.button_count = 0;
    enc_state.button_state = false;
    enc_state.button_time = 0;
    enc_state.timer_count = 0;
    enc_state.prev_enc_state = 0;
    enc_state.afilt = 0;
    enc_state.bfilt = 0;
    enc_state.enc_switch = 0;
    enc_state.enc_prev_button = 0;
    
    // Initialize timer for encoder processing
    k_timer_init(&enc_state.timer, encoder_timer_callback, NULL);
    int32_t period = ENCODER_TIMER_PERIOD_US;
    k_timer_start(&enc_state.timer, K_USEC(period), K_USEC(period));
    
    return 0;
}

bool encoder_has_events(void)
{
    static int32_t last_pos = 0;
    static int32_t last_btn_count = 0;
    
    bool pos_changed = (enc_state.position != last_pos);
    bool btn_changed = (enc_state.button_count != last_btn_count);
    
    if (pos_changed || btn_changed) {
        last_pos = enc_state.position;
        last_btn_count = enc_state.button_count;
        return true;
    }
    
    return false;
}

void encoder_process_events(void)
{
    // Events are processed in the timer callback
    // This function can be used for additional processing if needed
}

int32_t encoder_position(void)
{
    return enc_state.position;
}

int32_t encoder_button_count(void)
{
    return enc_state.button_count;
}

bool encoder_button_state(void)
{
    return enc_state.button_state;
}

int32_t encoder_button_time_ms(void)
{
    return (enc_state.button_time * ENCODER_TIMER_PERIOD_US) / 1000;
}

void encoder_reset(void)
{
    enc_state.position = 0;
    enc_state.button_count = 0;
    enc_state.button_time = 0;
    enc_state.timer_count = 0;
}

void encoder_set_position(int32_t value)
{
    enc_state.position = value;
}
```

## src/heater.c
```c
/*
 * Heater control for diyPresso
 * Ported to Zephyr RTOS
 */

#include <zephyr/kernel.h>
#include <zephyr/device.h>
#include <zephyr/drivers/pwm.h>
#include <zephyr/sys/printk.h>

#include "heater.h"
#include "gpio_config.h"

static struct heater_state heater_state;

/* Timer callback for heater control */
static void heater_control_timer(struct k_timer *timer)
{
    heater_control();
}

int heater_init(void)
{
    // Initialize heater state
    heater_state.power = 0.0;
    heater_state.average_power = 0.0;
    heater_state.pwm_period_us = HEATER_PWM_PERIOD_DEFAULT_US;
    heater_state.time_on = 0;
    heater_state.is_on = false;
    
    // Get PWM device from devicetree
    // Note: We'll use GPIO bit-banging for SSR control since STM32L031K6 might not have enough PWM channels
    const struct device *ssr_dev = DEVICE_DT_GET(DT_ALIAS(ssr_heater_gpio_port));
    uint32_t ssr_pin = DT_GPIO_PIN(DT_ALIAS(ssr_heater_gpio_port), gpios);
    
    if (!device_is_ready(ssr_dev)) {
        return -ENODEV;
    }
    
    int ret = gpio_pin_configure(ssr_dev, ssr_pin, GPIO_OUTPUT_INACTIVE);
    if (ret < 0) {
        return ret;
    }
    
    // Set initial state to OFF
    gpio_pin_set(ssr_dev, ssr_pin, 0);
    
    // Initialize control timer
    k_timer_init(&heater_state.control_timer, heater_control_timer, NULL);
    k_timer_start(&heater_state.control_timer, K_MSEC(100), K_MSEC(100)); // 100ms period
    
    return 0;
}

void heater_control(void)
{
    const struct device *ssr_dev = DEVICE_DT_GET(DT_ALIAS(ssr_heater_gpio_port));
    uint32_t ssr_pin = DT_GPIO_PIN(DT_ALIAS(ssr_heater_gpio_port), gpios);
    
    if (!device_is_ready(ssr_dev)) {
        return;
    }
    
    // Simple software PWM implementation
    static uint32_t pwm_counter = 0;
    static uint32_t last_toggle_time = 0;
    
    uint32_t current_time = k_uptime_get_32();
    uint32_t elapsed = current_time - last_toggle_time;
    
    // Calculate duty cycle (power level)
    double duty_cycle = heater_state.power / 100.0;
    uint32_t on_time = (uint32_t)(heater_state.pwm_period_us * duty_cycle / 1000) * 1000; // Convert to ms
    
    if (elapsed >= heater_state.pwm_period_us / 1000) { // Period has passed
        pwm_counter = 0;
        last_toggle_time = current_time;
        
        if (heater_state.power > 0.0 && heater_state.power < 100.0) {
            // Toggle based on duty cycle
            if (pwm_counter < on_time) {
                gpio_pin_set(ssr_dev, ssr_pin, 1);
                heater_state.is_on = true;
            } else {
                gpio_pin_set(ssr_dev, ssr_pin, 0);
                heater_state.is_on = false;
            }
        } else if (heater_state.power >= 100.0) {
            // Full power
            gpio_pin_set(ssr_dev, ssr_pin, 1);
            heater_state.is_on = true;
        } else {
            // Zero power
            gpio_pin_set(ssr_dev, ssr_pin, 0);
            heater_state.is_on = false;
        }
    } else {
        // Continue current state
        if (heater_state.power > 0.0 && heater_state.power < 100.0) {
            if (pwm_counter < on_time) {
                gpio_pin_set(ssr_dev, ssr_pin, 1);
                heater_state.is_on = true;
            } else {
                gpio_pin_set(ssr_dev, ssr_pin, 0);
                heater_state.is_on = false;
            }
        }
        pwm_counter += elapsed;
    }
}

void heater_pwm_period(double seconds)
{
    uint32_t period_us = (uint32_t)(seconds * 1000000);
    heater_state.pwm_period_us = period_us;
    
    // Clamp to valid range
    if (heater_state.pwm_period_us < HEATER_PWM_PERIOD_MIN_US) {
        heater_state.pwm_period_us = HEATER_PWM_PERIOD_MIN_US;
    } else if (heater_state.pwm_period_us > HEATER_PWM_PERIOD_MAX_US) {
        heater_state.pwm_period_us = HEATER_PWM_PERIOD_MAX_US;
    }
}

void heater_on(void)
{
    heater_set_power(100.0);
}

void heater_off(void)
{
    heater_set_power(0.0);
}

void heater_set_power(double power_percent)
{
    if (power_percent < 0.0) {
        power_percent = 0.0;
    } else if (power_percent > 100.0) {
        power_percent = 100.0;
    }
    
    heater_state.power = power_percent;
}

double heater_get_power(void)
{
    return heater_state.power;
}

double heater_get_average_power(void)
{
    return heater_state.average_power;
}

bool heater_is_on(void)
{
    return heater_state.is_on;
}

double heater_get_pwm_period(void)
{
    return (double)heater_state.pwm_period_us / 1000000.0;
}
```

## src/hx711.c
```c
/*
 * HX711 Load Cell Amplifier for diyPresso
 * Ported to Zephyr RTOS
 */

#include <zephyr/kernel.h>
#include <zephyr/device.h>
#include <zephyr/drivers/gpio.h>
#include <zephyr/logging/log.h>

#include "hx711.h"
#include "gpio_config.h"

LOG_MODULE_REGISTER(hx711, CONFIG_DIYPRESSO_LOG_LEVEL);

/* Pin configuration from hardware definitions */
#define HX711_SCK_GPIO DT_GPIO_PIN(DT_PATH(zephyr_user, hx711_sck), gpios)
#define HX711_DOUT_GPIO DT_GPIO_PIN(DT_PATH(zephyr_user, hx711_dout), gpios)

/* Device node references */
#define HX711_SCK_NODE DT_PATH(zephyr_user, hx711_sck)
#define HX711_DOUT_NODE DT_PATH(zephyr_user, hx711_dout)

/* Timing constants */
#define HX711_TIMEOUT_US 1000000  /* 1 second timeout for data ready */
#define HX711_DELAY_US 1          /* Delay between clock pulses */

/* Static variables */
static const struct device *sck_gpio_dev;
static const struct device *dout_gpio_dev;
static hx711_error_t hx711_error = HX711_ERROR_NONE;
static uint8_t current_gain = HX711_GAIN_CHANNEL_A_128;

/**
 * @brief Initialize HX711 module
 */
int hx711_init(void)
{
    LOG_INF("Initializing HX711");

    /* Get GPIO devices */
    sck_gpio_dev = DEVICE_DT_GET(DT_GPIO_CTLR(HX711_SCK_NODE, gpios));
    dout_gpio_dev = DEVICE_DT_GET(DT_GPIO_CTLR(HX711_DOUT_NODE, gpios));

    if (!device_is_ready(sck_gpio_dev)) {
        LOG_ERR("SCK GPIO device not ready");
        hx711_error = HX711_ERROR_INIT;
        return -ENODEV;
    }

    if (!device_is_ready(dout_gpio_dev)) {
        LOG_ERR("DOUT GPIO device not ready");
        hx711_error = HX711_ERROR_INIT;
        return -ENODEV;
    }

    /* Configure GPIO pins */
    int ret = gpio_pin_configure(sck_gpio_dev, HX711_SCK_GPIO, GPIO_OUTPUT_INACTIVE);
    if (ret < 0) {
        LOG_ERR("Failed to configure SCK pin: %d", ret);
        hx711_error = HX711_ERROR_INIT;
        return ret;
    }

    ret = gpio_pin_configure(dout_gpio_dev, HX711_DOUT_GPIO, GPIO_INPUT);
    if (ret < 0) {
        LOG_ERR("Failed to configure DOUT pin: %d", ret);
        hx711_error = HX711_ERROR_INIT;
        return ret;
    }

    /* Power up the HX711 by setting SCK low */
    gpio_pin_set(sck_gpio_dev, HX711_SCK_GPIO, 0);

    /* Set default gain */
    ret = hx711_set_gain(current_gain);
    if (ret != 0) {
        LOG_ERR("Failed to set default gain: %d", ret);
        hx711_error = HX711_ERROR_INIT;
        return ret;
    }

    LOG_INF("HX711 initialized successfully");
    hx711_error = HX711_ERROR_NONE;
    return 0;
}

/**
 * @brief Read a value from the HX711
 */
int hx711_read(long *result)
{
    if (!result) {
        return -EINVAL;
    }

    uint32_t timeout_count = 0;
    int ret;

    /* Wait for the data to be ready */
    while (gpio_pin_get(dout_gpio_dev, HX711_DOUT_GPIO) == 1) {
        k_usleep(10);
        timeout_count += 10;
        if (timeout_count > HX711_TIMEOUT_US) {
            LOG_ERR("HX711 read timeout");
            hx711_error = HX711_ERROR_TIMEOUT;
            return -ETIMEDOUT;
        }
    }

    /* Read 24 bits of data */
    long data = 0;
    for (int i = 0; i < 24; i++) {
        /* Toggle clock high then low */
        gpio_pin_set(sck_gpio_dev, HX711_SCK_GPIO, 1);
        k_usleep(HX711_DELAY_US);
        gpio_pin_set(sck_gpio_dev, HX711_SCK_GPIO, 0);
        
        /* Shift in the data bit */
        data <<= 1;
        if (gpio_pin_get(dout_gpio_dev, HX711_DOUT_GPIO) == 1) {
            data |= 1;
        }
        k_usleep(HX711_DELAY_US);
    }

    /* Set gain for next reading (25th-27th pulses) */
    for (int i = 0; i < 27 - 24; i++) {
        gpio_pin_set(sck_gpio_dev, HX711_SCK_GPIO, 1);
        k_usleep(HX711_DELAY_US);
        gpio_pin_set(sck_gpio_dev, HX711_SCK_GPIO, 0);
        k_usleep(HX711_DELAY_US);
    }

    /* Convert to signed 24-bit value */
    if (data & 0x800000) {
        data -= 0x1000000;
    }

    *result = data;
    hx711_error = HX711_ERROR_NONE;
    return 0;
}

/**
 * @brief Set gain for HX711
 */
int hx711_set_gain(uint8_t gain)
{
    int ret;
    current_gain = gain;

    /* To set gain, we need to perform a read with the appropriate number of pulses */
    /* We'll just ensure the next read uses the correct gain setting */
    
    /* Make sure device is powered up */
    ret = hx711_power_up();
    if (ret != 0) {
        hx711_error = HX711_ERROR_INIT;
        return ret;
    }

    /* Cycle clock the appropriate number of times to set gain */
    for (int i = 0; i < 27 - 24; i++) {
        gpio_pin_set(sck_gpio_dev, HX711_SCK_GPIO, 1);
        k_usleep(HX711_DELAY_US);
        gpio_pin_set(sck_gpio_dev, HX711_SCK_GPIO, 0);
        k_usleep(HX711_DELAY_US);
    }

    hx711_error = HX711_ERROR_NONE;
    return 0;
}

/**
 * @brief Power down HX711
 */
int hx711_power_down(void)
{
    /* Pull SCK high for at least 10 microseconds to power down */
    gpio_pin_set(sck_gpio_dev, HX711_SCK_GPIO, 1);
    k_usleep(100);
    
    hx711_error = HX711_ERROR_NONE;
    return 0;
}

/**
 * @brief Power up HX711
 */
int hx711_power_up(void)
{
    /* Pull SCK low to power up */
    gpio_pin_set(sck_gpio_dev, HX711_SCK_GPIO, 0);
    
    hx711_error = HX711_ERROR_NONE;
    return 0;
}

/**
 * @brief Check if HX711 is ready for reading
 */
bool hx711_is_ready(void)
{
    return gpio_pin_get(dout_gpio_dev, HX711_DOUT_GPIO) == 0;
}

/**
 * @brief Check if there's an error
 */
bool hx711_is_error(void)
{
    return hx711_error != HX711_ERROR_NONE;
}

/**
 * @brief Get error type
 */
hx711_error_t hx711_get_error(void)
{
    return hx711_error;
}

/**
 * @brief Get error text description
 */
const char *hx711_get_error_text(void)
{
    switch (hx711_error) {
        case HX711_ERROR_NONE:
            return "No Error";
        case HX711_ERROR_INIT:
            return "Initialization Error";
        case HX711_ERROR_READ:
            return "Read Error";
        case HX711_ERROR_TIMEOUT:
            return "Timeout Error";
        default:
            return "Unknown Error";
    }
}

/**
 * @brief Clear error state
 */
void hx711_clear_error(void)
{
    hx711_error = HX711_ERROR_NONE;
}
```
